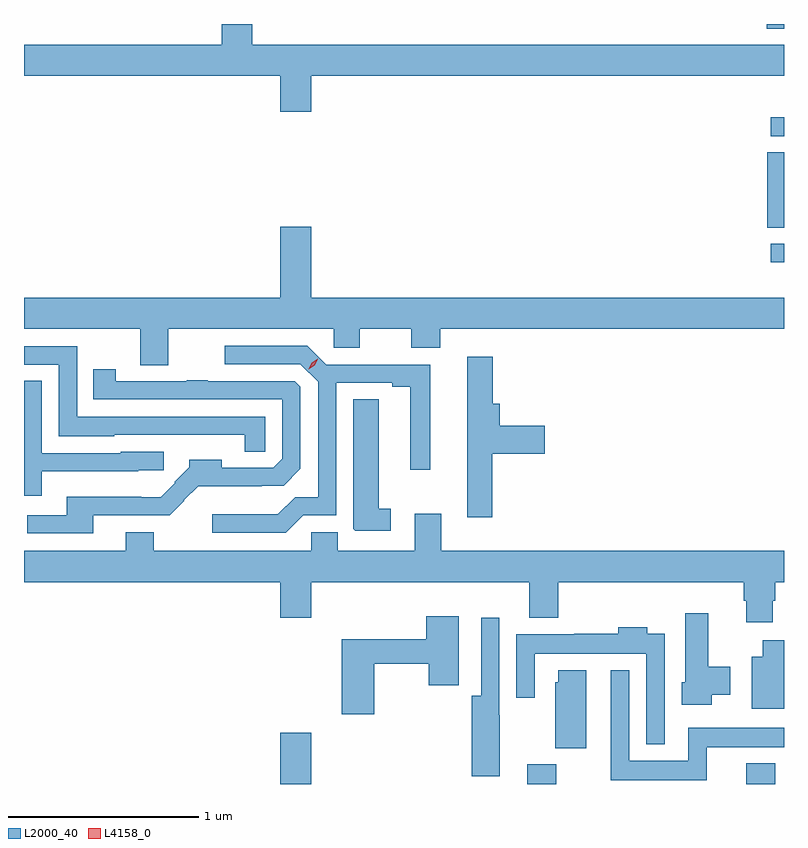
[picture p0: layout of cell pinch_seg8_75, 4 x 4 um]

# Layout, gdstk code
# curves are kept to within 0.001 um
import gdstk
lib = gdstk.Library(unit=1e-6, precision=1e-09)
def R(c, l, rs):  # rectangles x0, y0, x1, y1
    for r in rs: c.add(gdstk.rectangle(r[:2], r[2:], *l))
def P(c, l, *ps):  # polygons
    for p in ps: c.add(gdstk.Polygon(p, *l))
L2000_40 = (2000, 40)
L4158_0 = (4158, 0)

pinch_seg8_75 = lib.new_cell('pinch_seg8_75')
R(pinch_seg8_75, L2000_40, [(932.24,1082.137,932.404,1082.407), (933.539,1082.137,933.691,1082.241), (934.691,1082.137,934.844,1082.245), (934.821,1084.884,934.891,1084.98), (934.802,1085.065,934.891,1085.462), (934.821,1085.547,934.891,1085.646), (934.799,1086.113,934.891,1086.137)])
P(pinch_seg8_75, L2000_40, [(932.404,1085.864),(934.891,1085.864),(934.891,1086.028),(932.091,1086.028),(932.091,1086.137),(931.931,1086.137),(931.931,1086.028),(930.891,1086.028),(930.891,1085.864),(932.24,1085.864),(932.24,1085.676),(932.404,1085.676)],
  [(931.651,1084.532),(932.52,1084.532),(932.52,1084.434),(932.659,1084.434),(932.659,1084.532),(932.93,1084.532),(932.93,1084.433),(933.083,1084.433),(933.083,1084.532),(934.891,1084.532),(934.891,1084.696),(932.404,1084.696),(932.404,1085.071),(932.24,1085.071),(932.24,1084.696),(930.891,1084.696),(930.891,1084.532),(931.504,1084.532),(931.504,1084.342),(931.651,1084.342)],
  [(932.361,1083.552),(932.535,1083.552),(932.535,1084.248),(932.828,1084.248),(932.828,1084.228),(932.924,1084.228),(932.924,1083.792),(933.028,1083.792),(933.028,1084.344),(932.482,1084.344),(932.383,1084.443),(931.947,1084.443),(931.947,1084.347),(932.346,1084.347),(932.439,1084.254),(932.439,1083.647),(932.318,1083.647),(932.227,1083.556),(931.881,1083.556),(931.881,1083.459),(932.268,1083.459)],
  [(932.16,1084.071),(931.17,1084.071),(931.17,1084.44),(930.891,1084.44),(930.891,1084.344),(931.074,1084.344),(931.074,1083.968),(931.365,1083.968),(931.365,1083.975),(931.797,1083.975),(931.797,1083.974),(932.052,1083.974),(932.052,1083.886),(932.16,1083.886)],
  [(933.356,1083.875),(933.631,1083.875),(933.631,1084.022),(933.395,1084.022),(933.395,1084.138),(933.359,1084.138),(933.359,1084.387),(933.224,1084.387),(933.224,1083.54),(933.356,1083.54)],
  [(931.255,1083.552),(931.659,1083.552),(931.735,1083.629),(931.733,1083.631),(931.807,1083.705),(932.141,1083.704),(932.141,1083.706),(932.257,1083.706),(932.346,1083.795),(932.346,1084.227),(932.316,1084.257),(931.859,1084.257),(931.859,1084.262),(931.747,1084.262),(931.747,1084.257),(931.374,1084.257),(931.374,1084.321),(931.255,1084.321),(931.255,1084.161),(932.25,1084.161),(932.25,1083.849),(932.202,1083.801),(931.933,1083.801),(931.933,1083.844),(931.762,1083.844),(931.762,1083.805),(931.683,1083.726),(931.686,1083.723),(931.61,1083.647),(931.508,1083.647),(931.508,1083.649),(931.115,1083.649),(931.115,1083.552),(930.909,1083.552),(930.909,1083.456),(931.255,1083.456)],
  [(930.985,1083.782),(931.491,1083.782),(931.491,1083.789),(931.626,1083.789),(931.626,1083.885),(931.401,1083.885),(931.401,1083.879),(930.984,1083.879),(930.984,1084.259),(930.891,1084.259),(930.891,1083.653),(930.985,1083.653)],
  [(932.821,1083.587),(932.758,1083.587),(932.758,1084.163),(932.624,1084.163),(932.624,1083.481),(932.634,1083.471),(932.821,1083.471)],
  [(934.831,1083.102),(934.844,1083.102),(934.844,1083.2),(934.891,1083.2),(934.891,1083.364),(933.088,1083.364),(933.088,1083.559),(932.948,1083.559),(932.948,1083.364),(932.542,1083.364),(932.542,1083.462),(932.403,1083.462),(932.403,1083.364),(931.575,1083.364),(931.575,1083.463),(931.427,1083.463),(931.427,1083.364),(930.891,1083.364),(930.891,1083.2),(932.24,1083.2),(932.24,1083.012),(932.404,1083.012),(932.404,1083.2),(933.551,1083.2),(933.551,1083.011),(933.704,1083.011),(933.704,1083.2),(934.679,1083.2),(934.679,1083.102),(934.691,1083.102),(934.691,1082.988),(934.831,1082.988)],
  [(934.51,1082.606),(934.609,1082.606),(934.609,1082.754),(934.492,1082.754),(934.492,1083.037),(934.37,1083.037),(934.37,1082.673),(934.352,1082.673),(934.352,1082.555),(934.51,1082.555)],
  [(932.734,1082.77),(933.02,1082.77),(933.02,1082.658),(933.178,1082.658),(933.178,1083.019),(933.008,1083.019),(933.008,1082.899),(932.564,1082.899),(932.564,1082.505),(932.734,1082.505)],
  [(933.394,1082.498),(933.393,1082.498),(933.393,1083.013),(933.297,1083.013),(933.297,1082.602),(933.248,1082.602),(933.248,1082.178),(933.394,1082.178)],
  [(934.263,1082.929),(934.171,1082.929),(934.171,1082.962),(934.019,1082.962),(934.019,1082.929),(933.787,1082.929),(933.787,1082.926),(933.483,1082.926),(933.483,1082.592),(933.579,1082.592),(933.579,1082.822),(934.167,1082.822),(934.167,1082.345),(934.263,1082.345)],
  [(934.891,1082.893),(934.778,1082.893),(934.778,1082.806),(934.721,1082.806),(934.721,1082.534),(934.891,1082.534)],
  [(934.484,1082.33),(934.891,1082.33),(934.891,1082.434),(934.386,1082.434),(934.386,1082.26),(934.077,1082.26),(934.077,1082.737),(933.98,1082.737),(933.98,1082.156),(934.484,1082.156)],
  [(933.85,1082.737),(933.704,1082.737),(933.704,1082.673),(933.686,1082.673),(933.686,1082.326),(933.85,1082.326)])
P(pinch_seg8_75, L4158_0, [(932.389,1084.32),(932.389,1084.32),(932.405,1084.354),(932.436,1084.374),(932.437,1084.374),(932.437,1084.374),(932.42,1084.34),(932.389,1084.32)])

lib.write_gds('pinch_seg8_75.gds')
